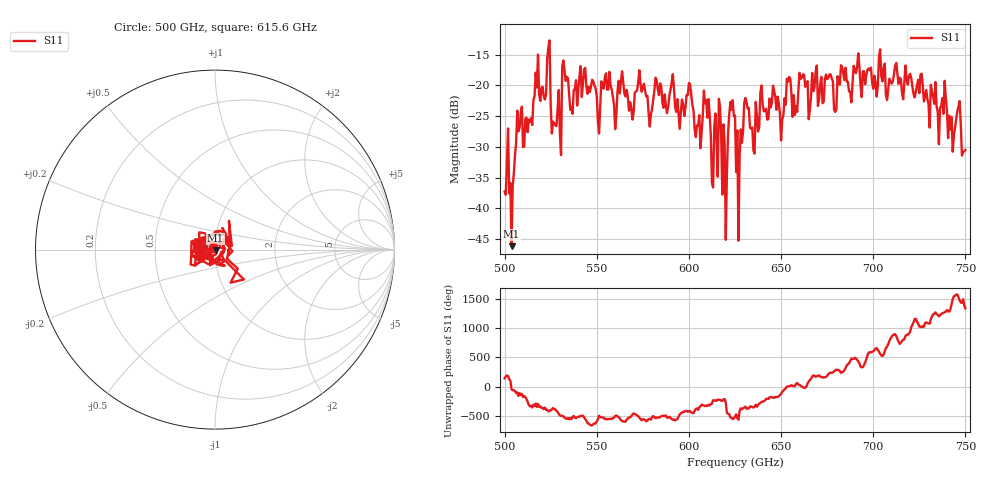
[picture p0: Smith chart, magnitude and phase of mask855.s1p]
!Created with skrf (http://scikit-rf.org).
# GHz S MA R 50.0
!freq magS11 angS11
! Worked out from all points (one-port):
!   401 points, 500 GHz to 750 GHz, reference 50 ohm
!   lowest |S11| = -46.1 dB at 503.8 GHz (marker M1), VSWR 1.01, Z = 50.3 - j0.35 ohm
!   |S11| at or under -10 dB: start of sweep to end of sweep
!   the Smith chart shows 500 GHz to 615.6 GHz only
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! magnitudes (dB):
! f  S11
! 500 GHz  -37.3
! 503.8 GHz  -46.1
! 508.1 GHz  -26.9
! 513.8 GHz  -26.0
! 516.9 GHz  -17.9
! 523.8 GHz  -13.8
! 526.9 GHz  -26.2
! 531.2 GHz  -16.9
! 532.5 GHz  -17.5
! 536.2 GHz  -23.5
! 562.5 GHz  -21.3
! 593.8 GHz  -22.2
! 605 GHz  -26.6
! 609.4 GHz  -22.4
! 612.5 GHz  -35.9
! 617.5 GHz  -28.2
! 619.4 GHz  -29.3
! 622.5 GHz  -22.7
! 625 GHz  -24.9
! 626.9 GHz  -45.2
! 631.2 GHz  -22.7
! 634.4 GHz  -26.9
! 640 GHz  -23.1
! 656.2 GHz  -25.1
! 687.5 GHz  -21.1
! 718.8 GHz  -19.9
! 746.2 GHz  -23.4
! 750 GHz  -30.5
